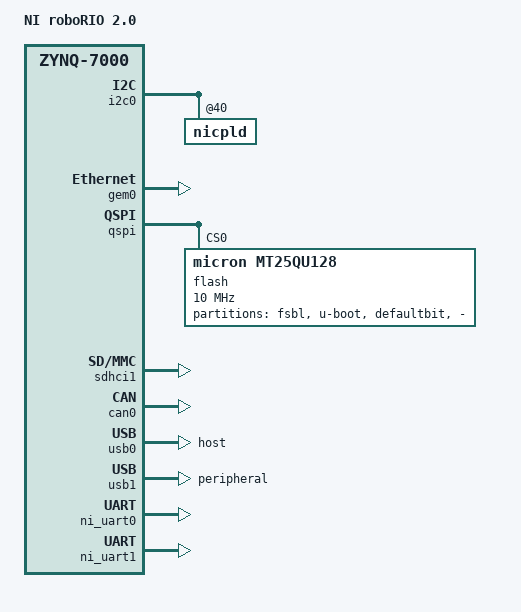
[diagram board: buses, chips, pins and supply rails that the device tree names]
/dts-v1/;
/include/ "ni-zynq.dtsi"

/* NIDEVCODE 7AAE */

/ {
	model = "NI roboRIO 2.0";
	compatible = "ni,zynq", "xlnx,zynq-7000";

	aliases {
		nullserial = &null_uart;
		i2c0 = &i2c0;
		spi0 = &qspi;
		mmc1 = &sdhci1;
	};

	chosen {
		stdout-path = "nullserial:115200n8";
	};

	amba {
		i2c0: i2c@e0004000 {
			nicpld@40 {
				watchdogs {
					boot-watchdog {
						interrupt-parent = <&gpio>;
						interrupts = <1 2 /* IRQ_TYPE_EDGE_FALLING */>;
					};
				};

			};
		};
	};
};

&gem0 {
	status = "okay";
	clocks = <&clkc 30>, <&clkc 13>, <&clkc 15>;
	clock-names = "pclk", "hclk", "tx_clk";
	xlnx,emio = <1>;
	cdns,emio-gpio-speed-100 = <54>;
};

&qspi {
	status = "okay";
	is-dual = <0>;
	bus-num = <0>;
	num-cs = <0>;
	flash@0 {
		compatible = "micron,mt25qu128", "spi-flash";
		reg = <0x0>;
		spi-tx-bus-width = <4>;
		spi-rx-bus-width = <4>;
		spi-max-frequency = <10000000>;
		#address-cells = <1>;
		#size-cells = <1>;
		partition@fsbl {
			label = "fsbl";
			reg = <0x0 0x20000>;
		};
		partition@u-boot {
			label = "u-boot";
			reg = <0x20000 0x400000>;
		};
		partition@defaultbit {
			label = "defaultbit";
			reg = <0x420000 0x700000>;
			read-only;
		};
		partition@- {
			label = "-";
			reg = <0xB20000 0x4E0000>;
		};
	};
};

&sdhci1 {
	u-boot,dm-pre-reloc;
	status = "okay";
};

&can0 {
	status = "okay";
};

&usb0 {
	status = "okay";
	dr_mode = "host";
};

&usb1 {
	status = "okay";
	dr_mode = "peripheral";
};

&ni_uart0 {
	status = "okay";
};

&ni_uart1 {
	status = "okay";
};

&clkc {
	/* Enable fclk1 for serial. */
	fclk-enable = <0x2>;
};
